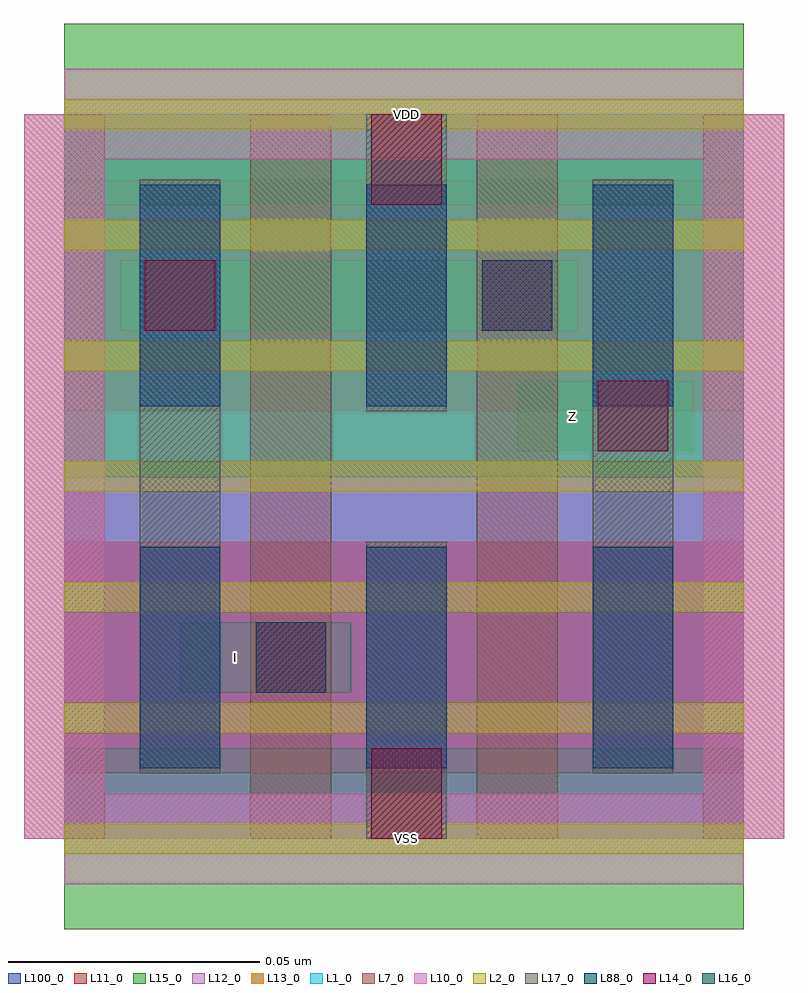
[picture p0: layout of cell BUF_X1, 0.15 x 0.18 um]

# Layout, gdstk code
import gdstk
lib = gdstk.Library(unit=1e-6, precision=1e-09)
def R(c, l, rs):  # rectangles x0, y0, x1, y1
    for r in rs: c.add(gdstk.rectangle(r[:2], r[2:], *l))
def A(c, l, x, y, w, h, nx, ny, dx, dy):  # array of equal rectangles
    R(c, l, [(x+i*dx, y+j*dy, x+i*dx+w, y+j*dy+h) for i in range(nx) for j in range(ny)])
def P(c, l, *ps):  # polygons
    for p in ps: c.add(gdstk.Polygon(p, *l))
L1_0 = (1, 0)
L2_0 = (2, 0)
L7_0 = (7, 0)
L10_0 = (10, 0)
L11_0 = (11, 0)
L12_0 = (12, 0)
L13_0 = (13, 0)
L14_0 = (14, 0)
L15_0 = (15, 0)
L16_0 = (16, 0)
L17_0 = (17, 0)
L88_0 = (88, 0)
L100_0 = (100, 0)

buf_x1 = lib.new_cell('BUF_X1')
R(buf_x1, L1_0, [(0,0.072,0.135,0.144)])
A(buf_x1, L2_0, 0, -0.003, 0.135, 0.006, 1, 7, 0, 0.024)
A(buf_x1, L7_0, -0.008, 0, 0.016, 0.144, 4, 1, 0.045, 0)
P(buf_x1, L10_0, [(0,-0.009),(0,0),(-0.008,0),(-0.008,0.135),(0.008,0.135),(0.008,0.009),(0.127,0.009),(0.127,0.135),(-0.008,0.135),(-0.008,0.144),(0,0.144),(0,0.153),(0.135,0.153),(0.135,0.144),(0.143,0.144),(0.143,0),(0.135,0),(0.135,-0.009)])
R(buf_x1, L11_0, [(0,0.013,0.135,0.059), (0,0.085,0.135,0.131)])
R(buf_x1, L12_0, [(0,0,0.135,0.072)])
R(buf_x1, L13_0, [(0,0.072,0.135,0.144)])
R(buf_x1, L14_0, [(0.061,0,0.075,0.018), (0.038,0.029,0.052,0.043), (0.106,0.077,0.12,0.091), (0.016,0.101,0.03,0.115), (0.083,0.101,0.097,0.115), (0.061,0.126,0.075,0.144)])
R(buf_x1, L15_0, [(0,-0.018,0.135,0.018), (0.023,0.029,0.057,0.043), (0.09,0.077,0.125,0.091), (0.011,0.101,0.102,0.115), (0,0.126,0.135,0.162)])
R(buf_x1, L16_0, [(0.038,0.029,0.052,0.043), (0.083,0.101,0.097,0.115)])
R(buf_x1, L17_0, [(0.06,0,0.076,0.059), (0.015,0.013,0.031,0.131), (0.105,0.013,0.121,0.131), (0.06,0.085,0.076,0.144)])
A(buf_x1, L88_0, 0.015, 0.014, 0.016, 0.044, 3, 2, 0.045, 0.072)
R(buf_x1, L100_0, [(0,0,0.135,0.144)])
buf_x1.add(gdstk.Label('I', (0.034,0.036), layer=15, texttype=251))
buf_x1.add(gdstk.Label('VSS', (0.068,0), layer=15, texttype=251))
buf_x1.add(gdstk.Label('VDD', (0.068,0.144), layer=15, texttype=251))
buf_x1.add(gdstk.Label('Z', (0.101,0.084), layer=15, texttype=251))
buf_x1.add(gdstk.Label('VSS', (0.068,0), layer=15, texttype=251))
buf_x1.add(gdstk.Label('VDD', (0.068,0.144), layer=15, texttype=251))
buf_x1.add(gdstk.Label('VSS', (0.068,0), layer=3, texttype=251))
buf_x1.add(gdstk.Label('VSS', (0.068,0), layer=3, texttype=251))
buf_x1.add(gdstk.Label('VDD', (0.068,0.144), layer=1, texttype=251))
buf_x1.add(gdstk.Label('VDD', (0.068,0.144), layer=1, texttype=251))

lib.write_gds('BUF_X1.gds')
